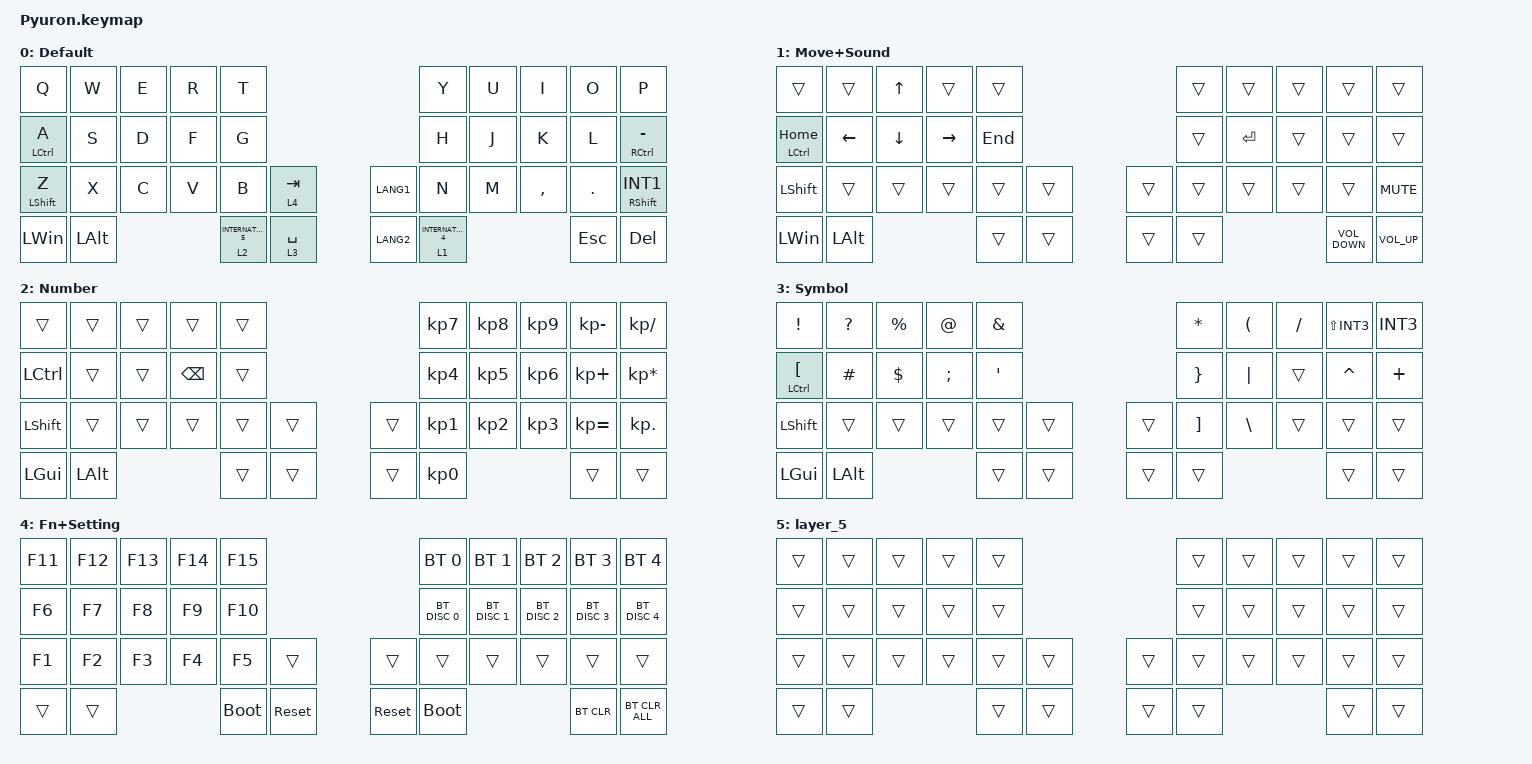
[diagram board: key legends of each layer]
#include <behaviors.dtsi>
#include <dt-bindings/zmk/bt.h>
#include <dt-bindings/zmk/keys.h>
#include <dt-bindings/zmk/pointing.h>
#include <input/processors.dtsi>
#include <dt-bindings/zmk/input_transform.h>

#define MOUSE 6

&mt {
    flavor = "balanced";
    quick-tap-ms = <0>;
};

/ {
    combos {
        compatible = "zmk,combos";

        JK_LeftClick {
            bindings = <&mkp MB1>;
            key-positions = <16 17>;
            timeout-ms = <30>;
            layers = <0>;
            require-prior-idle-ms = <150>;
            slow-release;
        };

        KL_RightClick {
            bindings = <&mkp MB2>;
            key-positions = <17 18>;
            timeout-ms = <30>;
            require-prior-idle-ms = <150>;
            slow-release;
            layers = <0>;
        };

        UI_MiddleClick {
            bindings = <&mkp MB3>;
            key-positions = <6 7>;
            timeout-ms = <30>;
            require-prior-idle-ms = <150>;
            slow-release;
            layers = <0>;
        };

        FD_LeftClick {
            bindings = <&mkp MB1>;
            key-positions = <13 12>;
            timeout-ms = <30>;
            slow-release;
            require-prior-idle-ms = <150>;
            layers = <0>;
        };

        DS_RightClick {
            bindings = <&mkp MB2>;
            key-positions = <11 12>;
            timeout-ms = <30>;
            slow-release;
            require-prior-idle-ms = <150>;
            layers = <0>;
        };

        RE_MiddleClick {
            bindings = <&mkp MB3>;
            key-positions = <2 3>;
            timeout-ms = <30>;
            slow-release;
            require-prior-idle-ms = <150>;
            layers = <0>;
        };
    };

    macros {
        to_layer_0: to_layer_0 {
            compatible = "zmk,behavior-macro-one-param";
            #binding-cells = <1>;
            bindings = <&to 0 &macro_param_1to1 &kp MACRO_PLACEHOLDER>;
            label = "TO_LAYER_0";
        };
    };

    lt_to_layer_0: lt_to_layer_0 {
        compatible = "zmk,behavior-hold-tap";
        label = "LAYER_TAP_TO_0";
        bindings = <&mo>, <&to_layer_0>;

        #binding-cells = <2>;
        tapping-term-ms = <200>;
    };

    LANG12_TapDance: LANG12_TapDance {
        compatible = "zmk,behavior-tap-dance";
        label = "LANG12_TAPDANCE";
        #binding-cells = <0>;
        bindings = <&kp LANGUAGE_2>, <&kp LANG1>;
    };
};

/ {
    behaviors {
    };

    keymap {
        compatible = "zmk,keymap";

        Default {
            bindings = <
&kp Q             &kp W                 &kp E         &kp R         &kp T                  &kp Y        &kp U      &kp I                  &kp O       &kp P
&mt LCTRL A       &kp S                 &kp D         &kp F         &kp G                  &kp H        &kp J      &kp K                  &kp L       &mt RCTRL MINUS
&mt LEFT_SHIFT Z  &kp X                 &kp C         &kp V         &kp B                  &lt 4 TAB    &kp LANG1  &kp N                  &kp M       &kp COMMA
&kp DOT           &mt RIGHT_SHIFT INT1  &kp LEFT_WIN  &kp LEFT_ALT  &lt 2 INTERNATIONAL_5  &lt 3 SPACE  &kp LANG2  &lt 1 INTERNATIONAL_4  &kp ESCAPE  &kp DEL
            >;
        };

        Move+Sound {
            bindings = <
&trans          &trans          &kp UP_ARROW    &trans        &trans   &trans  &trans     &trans  &trans             &trans
&mt LCTRL HOME  &kp LEFT_ARROW  &kp DOWN_ARROW  &kp RIGHT     &kp END  &trans  &kp ENTER  &trans  &trans             &trans
&kp LEFT_SHIFT  &trans          &trans          &trans        &trans   &trans  &trans     &trans  &trans             &trans
&trans          &kp K_MUTE      &kp LEFT_WIN    &kp LEFT_ALT  &trans   &trans  &trans     &trans  &kp C_VOLUME_DOWN  &kp C_VOL_UP
            >;
        };

        Number {
            bindings = <
&trans          &trans      &trans        &trans         &trans  &kp KP_NUMBER_7  &kp KP_NUMBER_8  &kp KP_NUMBER_9  &kp KP_MINUS     &kp KP_DIVIDE
&kp LCTRL       &trans      &trans        &kp BACKSPACE  &trans  &kp KP_NUMBER_4  &kp KP_NUMBER_5  &kp KP_NUMBER_6  &kp KP_PLUS      &kp KP_ASTERISK
&kp LEFT_SHIFT  &trans      &trans        &trans         &trans  &trans           &trans           &kp KP_NUMBER_1  &kp KP_NUMBER_2  &kp KP_NUMBER_3
&kp KP_EQUAL    &kp KP_DOT  &kp LEFT_GUI  &kp LEFT_ALT   &trans  &trans           &trans           &kp KP_NUMBER_0  &trans           &trans
            >;
        };

        Symbol {
            bindings = <
&kp EXCLAMATION         &kp QUESTION  &kp PRCNT     &kp AT_SIGN    &kp AMPERSAND     &kp ASTERISK     &kp LEFT_PARENTHESIS  &kp SLASH          &kp LS(INT3)   &kp INT3
&mt LCTRL LEFT_BRACKET  &kp HASH      &kp DLLR      &kp SEMICOLON  &kp SINGLE_QUOTE  &kp RIGHT_BRACE  &kp PIPE              &trans             &kp CARET      &kp PLUS
&kp LEFT_SHIFT          &trans        &trans        &trans         &trans            &trans           &trans                &kp RIGHT_BRACKET  &kp BACKSLASH  &trans
&trans                  &trans        &kp LEFT_GUI  &kp LEFT_ALT   &trans            &trans           &trans                &trans             &trans         &trans
            >;
        };

        Fn+Setting {
            bindings = <
&kp F11  &kp F12  &kp F13  &kp F14  &kp F15      &bt BT_SEL 0   &bt BT_SEL 1   &bt BT_SEL 2   &bt BT_SEL 3   &bt BT_SEL 4
&kp F6   &kp F7   &kp F8   &kp F9   &kp F10      &bt BT_DISC 0  &bt BT_DISC 1  &bt BT_DISC 2  &bt BT_DISC 3  &bt BT_DISC 4
&kp F1   &kp F2   &kp F3   &kp F4   &kp F5       &trans         &trans         &trans         &trans         &trans
&trans   &trans   &trans   &trans   &bootloader  &sys_reset     &sys_reset     &bootloader    &bt BT_CLR     &bt BT_CLR_ALL
            >;
        };

        layer_5 {
            bindings = <
&trans  &trans  &trans  &trans  &trans  &trans  &trans  &trans  &trans  &trans
&trans  &trans  &trans  &trans  &trans  &trans  &trans  &trans  &trans  &trans
&trans  &trans  &trans  &trans  &trans  &trans  &trans  &trans  &trans  &trans
&trans  &trans  &trans  &trans  &trans  &trans  &trans  &trans  &trans  &trans
            >;
        };
    };
};

/* 1. dtsiの設定を「レイヤー3（Symbol）専用のカーソル移動」に限定する */
&trackball_listener_L {
    status = "okay";
    layers = <3>;
};

/* 2. それ以外のレイヤーを「スクロール」として新設する */
/ {
    trackball_L_scroll: trackball_L_scroll {
        compatible = "zmk,input-listener";
        device = <&trackball_split_L>;
        layers = <0 1 2 4 5>;
        input-processors = <&zip_xy_to_scroll_mapper>;
    };
};
